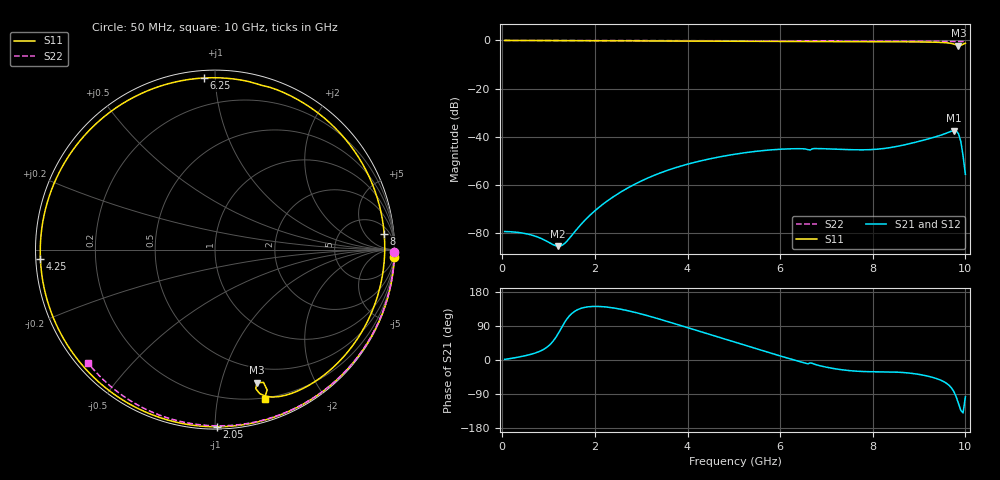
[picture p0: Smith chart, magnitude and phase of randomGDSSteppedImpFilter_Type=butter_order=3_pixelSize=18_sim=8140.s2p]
! freq	dB(S11)	phase(S11)	dB(S12)	phase(S12)
!  dB(S21)	phase(S21)	dB(S22)	phase(S22)
!S-par simulation data
#  GHz  S  DB  R 50
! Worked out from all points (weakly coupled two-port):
!   200 points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, 50 MHz to 10 GHz, reference 50 ohm
!   highest |S21| = -37.34 dB at 9.75 GHz (marker M1); lowest = -85.3 dB at 1.2 GHz (marker M2)
!   lowest |S11| = -2.2 dB at 9.85 GHz (marker M3), VSWR 7.99, Z = 17.4 - j65.2 ohm
!   |S11| at or under -10 dB: nowhere
!   |S22| runs from -0.5 to 0.0 dB; largest |S21 - S12| = 0
!   S11 on the Smith chart (normalised r, x): 50 MHz: 0, -50; 2.05 GHz: 0.01, -1.01; 4.25 GHz: 0.01, -0.03; 6.25 GHz: 0.04, +0.94; 8 GHz: 9, +16; 10 GHz: 0.19, -1.37
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0.05  -0.00 -2.3  -79.22 1.7  -79.22 1.7  -0.00 -0.8
0.6  -0.02 -27.2  -80.50 14.4  -80.50 14.4  -0.01 -9.6
1.2  -0.07 -53.6  -85.28 68.2  -85.28 68.2  -0.02 -19.0
1.55  -0.09 -68.6  -79.65 127.3  -79.65 127.3  -0.03 -24.5
1.75  -0.10 -77.0  -75.22 138.1  -75.22 138.1  -0.04 -27.6
2.05  -0.11 -89.5  -69.78 141.4  -69.78 141.4  -0.04 -32.2
2.7  -0.14 -115.7  -61.25 130.4  -61.25 130.4  -0.05 -42.1
3.4  -0.18 -143.3  -55.00 107.7  -55.00 107.7  -0.07 -52.5
4.25  -0.23 -177.1  -50.07 75.9  -50.07 75.9  -0.09 -64.8
5.05  -0.28 149.4  -47.08 45.9  -47.08 45.9  -0.12 -75.9
5.7  -0.33 120.2  -45.53 21.7  -45.53 21.7  -0.14 -84.7
6.25  -0.37 93.7  -44.91 1.8  -44.91 1.8  -0.17 -92.0
6.7  -0.40 71.4  -44.89 -9.1  -44.89 -9.1  -0.19 -97.8
7.4  -0.43 35.4  -45.21 -26.8  -45.21 -26.8  -0.23 -106.7
8  -0.47 5.4  -45.21 -31.0  -45.21 -31.0  -0.28 -114.1
8.35  -0.51 -11.4  -44.50 -31.4  -44.50 -31.4  -0.30 -118.4
9.15  -0.65 -47.1  -41.07 -41.5  -41.07 -41.5  -0.38 -128.2
9.5  -0.84 -62.1  -39.07 -55.0  -39.07 -55.0  -0.41 -132.4
9.75  -1.51 -72.7  -37.34 -83.3  -37.34 -83.3  -0.44 -135.4
9.85  -2.19 -72.5  -38.60 -114.5  -38.60 -114.5  -0.45 -136.5
9.9  -2.07 -69.9  -41.79 -132.7  -41.79 -132.7  -0.45 -137.2
10  -1.17 -71.6  -55.54 -97.1  -55.54 -97.1  -0.46 -138.4
